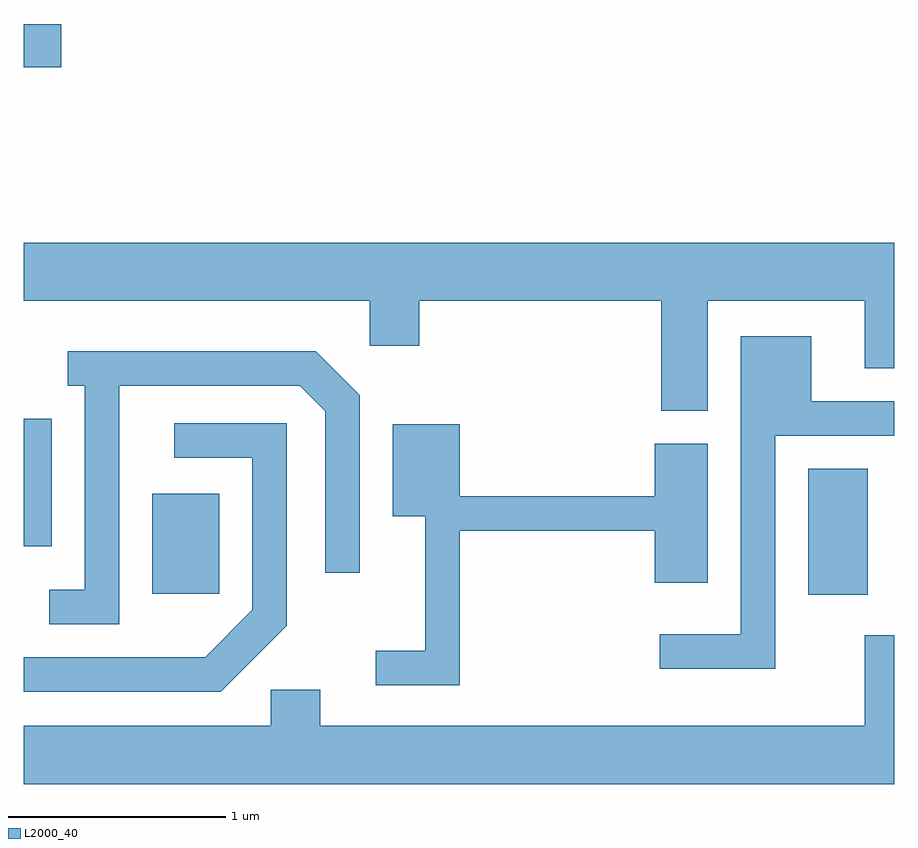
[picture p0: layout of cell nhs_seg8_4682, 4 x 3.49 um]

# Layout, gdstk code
import gdstk
lib = gdstk.Library(unit=1e-6, precision=1e-09)
def R(c, l, rs):  # rectangles x0, y0, x1, y1
    for r in rs: c.add(gdstk.rectangle(r[:2], r[2:], *l))
def P(c, l, *ps):  # polygons
    for p in ps: c.add(gdstk.Polygon(p, *l))
L2000_40 = (2000, 40)

nhs_seg8_4682 = lib.new_cell('nhs_seg8_4682')
R(nhs_seg8_4682, L2000_40, [(329.216,1859.486,329.489,1860.064), (326.201,1859.491,326.509,1859.949), (325.611,1859.708,325.739,1860.294), (325.611,1861.911,325.784,1862.109)])
P(nhs_seg8_4682, L2000_40, [(328.754,1860.836),(329.476,1860.836),(329.476,1860.526),(329.611,1860.526),(329.611,1861.104),(325.611,1861.104),(325.611,1860.836),(327.201,1860.836),(327.201,1860.631),(327.429,1860.631),(327.429,1860.836),(328.541,1860.836),(328.541,1860.331),(328.754,1860.331)],
  [(329.064,1860.216),(329.611,1860.216),(329.611,1860.374),(329.229,1860.374),(329.229,1860.674),(328.906,1860.674),(328.906,1859.304),(328.533,1859.304),(328.533,1859.146),(329.064,1859.146)],
  [(326.049,1860.446),(326.879,1860.446),(326.996,1860.329),(326.996,1859.588),(327.154,1859.588),(327.154,1860.402),(326.952,1860.604),(325.813,1860.604),(325.813,1860.446),(325.891,1860.446),(325.891,1859.509),(325.728,1859.509),(325.728,1859.351),(326.049,1859.351)],
  [(326.819,1859.344),(326.819,1860.274),(326.303,1860.274),(326.303,1860.116),(326.661,1860.116),(326.661,1859.417),(326.444,1859.199),(325.611,1859.199),(325.611,1859.041),(326.517,1859.041)],
  [(327.614,1859.781),(328.511,1859.781),(328.511,1859.541),(328.754,1859.541),(328.754,1860.179),(328.511,1860.179),(328.511,1859.939),(327.614,1859.939),(327.614,1860.269),(327.306,1860.269),(327.306,1859.846),(327.456,1859.846),(327.456,1859.229),(327.228,1859.229),(327.228,1859.071),(327.614,1859.071)],
  [(329.611,1859.299),(329.476,1859.299),(329.476,1858.884),(326.974,1858.884),(326.974,1859.049),(326.746,1859.049),(326.746,1858.884),(325.611,1858.884),(325.611,1858.616),(329.611,1858.616)])

lib.write_gds('nhs_seg8_4682.gds')
